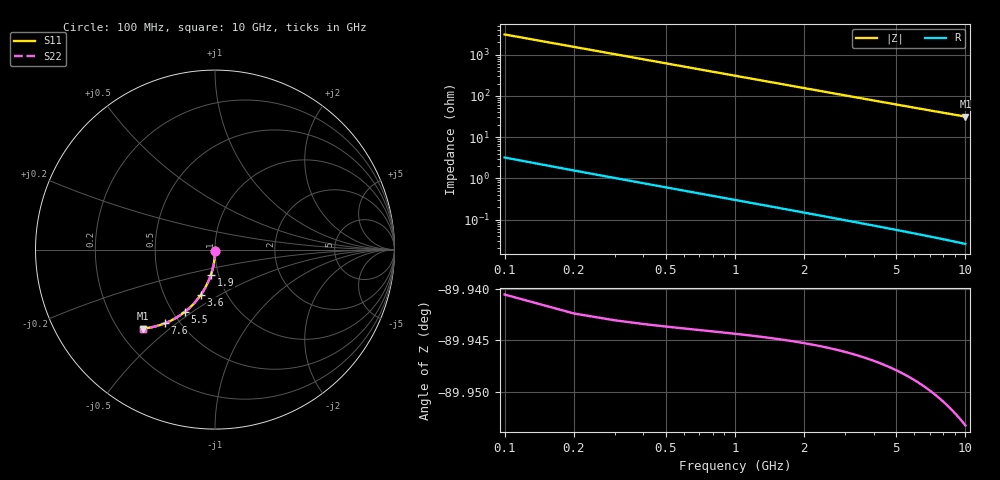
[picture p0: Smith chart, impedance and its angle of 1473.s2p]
# Hz S RI R 50.00
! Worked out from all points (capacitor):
!   100 points, 100 MHz to 10 GHz, reference 50 ohm
!   read as one part in shunt: C = 515 fF near 100 MHz
!   lowest |Z| = 31.6 ohm at 10 GHz (marker M1)
!   S11 on the Smith chart (normalised r, x): 100 MHz: 1.00, -0.02; 1.9 GHz: 0.92, -0.26; 3.6 GHz: 0.76, -0.41; 5.5 GHz: 0.58, -0.47; 7.6 GHz: 0.42, -0.46; 10 GHz: 0.30, -0.41
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1e8  0.000136 -0.00759  0.9997 -0.00859  0.9997 -0.00859  0.000136 -0.00759
2e8  -6.62e-05 -0.0152  0.9995 -0.0172  0.9995 -0.0172  -6.62e-05 -0.0152
3e8  -0.000399 -0.0228  0.9992 -0.0257  0.9992 -0.0257  -0.000399 -0.0228
4e8  -0.000861 -0.0303  0.9987 -0.0343  0.9987 -0.0343  -0.000861 -0.0303
5e8  -0.00145 -0.0379  0.9981 -0.0429  0.9981 -0.0429  -0.00145 -0.0379
6e8  -0.00218 -0.0454  0.9974 -0.0514  0.9974 -0.0514  -0.00218 -0.0454
8e8  -0.004 -0.0605  0.9955 -0.0684  0.9955 -0.0684  -0.004 -0.0605
1.1e9  -0.0077 -0.0828  0.9918 -0.0938  0.9918 -0.0938  -0.0077 -0.0828
1.4e9  -0.0125 -0.1049  0.9869 -0.1188  0.9869 -0.1188  -0.0125 -0.1049
1.8e9  -0.0206 -0.1337  0.9788 -0.1516  0.9788 -0.1516  -0.0206 -0.1337
1.9e9  -0.023 -0.1408  0.9764 -0.1597  0.9764 -0.1597  -0.023 -0.1408
2.2e9  -0.0306 -0.1617  0.9687 -0.1836  0.9687 -0.1836  -0.0306 -0.1617
2.6e9  -0.0423 -0.1887  0.9569 -0.2146  0.9569 -0.2146  -0.0423 -0.1887
3.4e9  -0.0704 -0.2393  0.9285 -0.2732  0.9285 -0.2732  -0.0704 -0.2393
3.6e9  -0.0783 -0.2511  0.9206 -0.287  0.9206 -0.287  -0.0783 -0.2511
4.3e9  -0.1084 -0.2898  0.8902 -0.3327  0.8902 -0.3327  -0.1084 -0.2898
5.1e9  -0.1464 -0.3283  0.8519 -0.3794  0.8519 -0.3794  -0.1464 -0.3283
5.5e9  -0.1665 -0.3453  0.8315 -0.4004  0.8315 -0.4004  -0.1665 -0.3453
6.7e9  -0.2295 -0.3872  0.7678 -0.4545  0.7678 -0.4545  -0.2295 -0.3872
7.6e9  -0.2778 -0.41  0.7188 -0.4865  0.7188 -0.4865  -0.2778 -0.41
8.4e9  -0.3205 -0.4245  0.6754 -0.5093  0.6754 -0.5093  -0.3205 -0.4245
1e10  -0.4025 -0.4397  0.5918 -0.5411  0.5918 -0.5411  -0.4025 -0.4397
